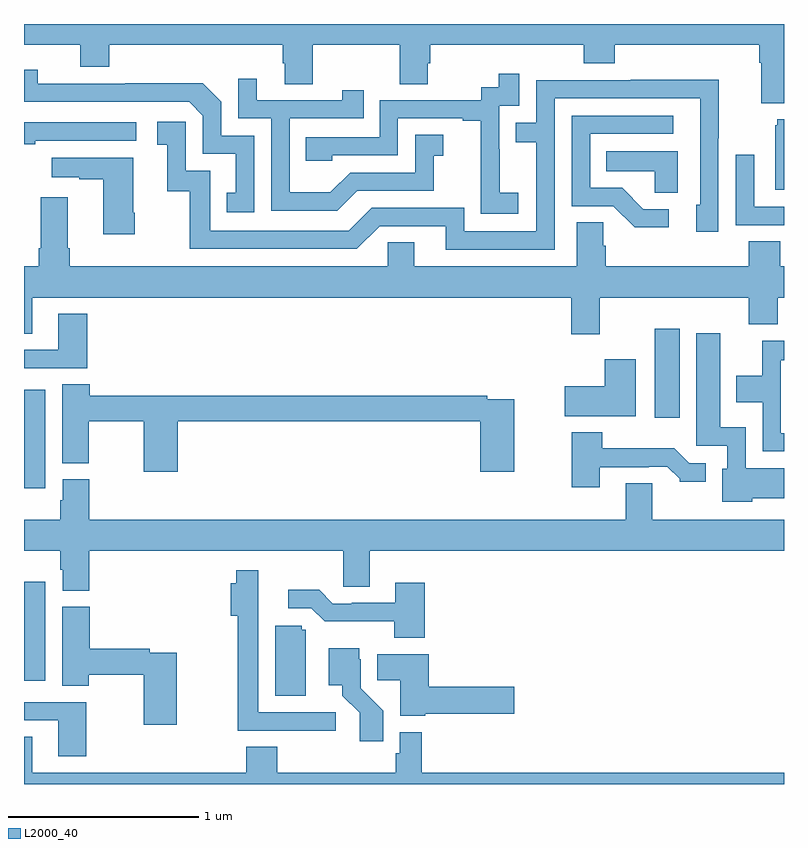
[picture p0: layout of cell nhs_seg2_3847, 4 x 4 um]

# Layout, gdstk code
import gdstk
lib = gdstk.Library(unit=1e-6, precision=1e-09)
def R(c, l, rs):  # rectangles x0, y0, x1, y1
    for r in rs: c.add(gdstk.rectangle(r[:2], r[2:], *l))
def P(c, l, *ps):  # polygons
    for p in ps: c.add(gdstk.Polygon(p, *l))
L2000_40 = (2000, 40)

nhs_seg2_3847 = lib.new_cell('nhs_seg2_3847')
R(nhs_seg2_3847, L2000_40, [(315,588.344,315.112,588.865), (315,589.356,315.112,589.876), (318.32,589.728,318.451,590.197)])
P(nhs_seg2_3847, L2000_40, [(319,591.8),(315,591.8),(315,591.692),(315.296,591.692),(315.296,591.575),(315.449,591.575),(315.449,591.692),(316.361,591.692),(316.361,591.594),(316.373,591.594),(316.373,591.484),(316.521,591.484),(316.521,591.692),(316.978,591.692),(316.978,591.484),(317.125,591.484),(317.125,591.594),(317.138,591.594),(317.138,591.692),(317.945,591.692),(317.945,591.593),(318.11,591.593),(318.11,591.692),(318.869,591.692),(318.869,591.596),(318.881,591.596),(318.881,591.383),(319,591.383)],
  [(316.212,591.213),(316.038,591.213),(316.038,591.39),(315.94,591.488),(315.532,591.488),(315.532,591.486),(315.072,591.486),(315.072,591.559),(315,591.559),(315,591.39),(315.87,591.39),(315.942,591.318),(315.942,591.117),(316.115,591.117),(316.115,590.913),(316.066,590.913),(316.066,590.808),(316.212,590.808)],
  [(317.602,590.911),(317.504,590.911),(317.504,591.14),(317.502,591.14),(317.502,591.369),(317.607,591.369),(317.607,591.538),(317.499,591.538),(317.499,591.468),(317.406,591.468),(317.406,591.399),(316.872,591.399),(316.872,591.204),(316.483,591.204),(316.483,591.081),(316.623,591.081),(316.623,591.108),(316.968,591.108),(316.968,591.303),(317.309,591.303),(317.309,591.291),(317.405,591.291),(317.405,591.007),(317.404,591.007),(317.404,590.801),(317.602,590.801)],
  [(316.753,590.922),(317.157,590.922),(317.157,591.107),(317.206,591.107),(317.206,591.217),(317.058,591.217),(317.058,591.018),(316.716,591.018),(316.612,590.914),(316.398,590.914),(316.398,591.303),(316.787,591.303),(316.787,591.451),(316.676,591.451),(316.676,591.399),(316.225,591.399),(316.225,591.511),(316.128,591.511),(316.128,591.303),(316.302,591.303),(316.302,590.817),(316.648,590.817)],
  [(317.793,591.408),(318.558,591.408),(318.558,590.85),(318.539,590.85),(318.539,590.706),(318.654,590.706),(318.654,591.199),(318.657,591.199),(318.657,591.506),(318.193,591.506),(318.193,591.504),(317.697,591.504),(317.697,591.279),(317.587,591.279),(317.587,591.178),(317.697,591.178),(317.697,590.709),(317.316,590.709),(317.316,590.832),(316.83,590.832),(316.71,590.712),(315.981,590.712),(315.981,591.027),(315.852,591.027),(315.852,591.286),(315.702,591.286),(315.702,591.165),(315.755,591.165),(315.755,590.919),(315.873,590.919),(315.873,590.616),(316.752,590.616),(316.872,590.736),(317.219,590.736),(317.219,590.613),(317.793,590.613)],
  [(318.394,590.826),(318.259,590.826),(318.148,590.937),(317.979,590.937),(317.979,591.222),(318.418,591.222),(318.418,591.318),(317.883,591.318),(317.883,590.841),(318.102,590.841),(318.215,590.729),(318.394,590.729)],
  [(319,591.298),(318.965,591.298),(318.965,591.267),(318.953,591.267),(318.953,590.927),(319,590.927)],
  [(315.059,591.186),(315.592,591.186),(315.592,591.282),(315,591.282),(315,591.166),(315.059,591.166)],
  [(318.442,591.13),(318.064,591.13),(318.064,591.026),(318.321,591.026),(318.321,590.911),(318.442,590.911)],
  [(319,590.838),(318.843,590.838),(318.843,591.112),(318.747,591.112),(318.747,590.742),(319,590.742)],
  [(315.582,590.806),(315.574,590.806),(315.574,591.097),(315.147,591.097),(315.147,590.993),(315.29,590.993),(315.29,590.983),(315.416,590.983),(315.416,590.694),(315.582,590.694)],
  [(318.031,590.36),(318.815,590.36),(318.815,590.219),(318.967,590.219),(318.967,590.36),(319,590.36),(319,590.524),(318.98,590.524),(318.98,590.657),(318.815,590.657),(318.815,590.524),(318.062,590.524),(318.062,590.633),(318.048,590.633),(318.048,590.756),(317.909,590.756),(317.909,590.524),(317.053,590.524),(317.053,590.651),(316.914,590.651),(316.914,590.524),(315.242,590.524),(315.242,590.62),(315.229,590.62),(315.229,590.887),(315.089,590.887),(315.089,590.62),(315.077,590.62),(315.077,590.524),(315,590.524),(315,590.17),(315.043,590.17),(315.043,590.36),(317.879,590.36),(317.879,590.166),(318.031,590.166)],
  [(315.332,590.275),(315.179,590.275),(315.179,590.085),(315,590.085),(315,589.989),(315.332,589.989)],
  [(318.834,589.304),(319,589.304),(319,589.462),(318.798,589.462),(318.798,589.678),(318.664,589.678),(318.664,590.173),(318.539,590.173),(318.539,589.581),(318.702,589.581),(318.702,589.458),(318.674,589.458),(318.674,589.286),(318.834,589.286)],
  [(319,589.647),(318.984,589.647),(318.984,590.03),(319,590.03),(319,590.134),(318.886,590.134),(318.886,589.948),(318.749,589.948),(318.749,589.808),(318.888,589.808),(318.888,589.551),(319,589.551)],
  [(318.22,590.035),(318.056,590.035),(318.056,589.894),(317.847,589.894),(317.847,589.736),(318.22,589.736)],
  [(315.809,589.708),(317.402,589.708),(317.402,589.443),(317.58,589.443),(317.58,589.824),(317.438,589.824),(317.438,589.844),(315.347,589.844),(315.347,589.904),(315.2,589.904),(315.2,589.489),(315.342,589.489),(315.342,589.708),(315.631,589.708),(315.631,589.443),(315.809,589.443)],
  [(318.031,589.467),(318.287,589.467),(318.287,589.47),(318.386,589.47),(318.45,589.406),(318.45,589.391),(318.589,589.391),(318.589,589.488),(318.501,589.488),(318.423,589.567),(318.044,589.567),(318.044,589.651),(317.884,589.651),(317.884,589.362),(318.031,589.362)],
  [(315.344,589.028),(316.68,589.028),(316.68,588.838),(316.819,588.838),(316.819,589.028),(319,589.028),(319,589.192),(318.307,589.192),(318.307,589.382),(318.167,589.382),(318.167,589.192),(315.344,589.192),(315.344,589.404),(315.203,589.404),(315.203,589.293),(315.191,589.293),(315.191,589.192),(315,589.192),(315,589.028),(315.191,589.028),(315.191,588.927),(315.203,588.927),(315.203,588.817),(315.344,588.817)],
  [(316.642,588.177),(316.233,588.177),(316.233,588.702),(316.234,588.702),(316.234,588.925),(316.117,588.925),(316.117,588.856),(316.088,588.856),(316.088,588.686),(316.125,588.686),(316.125,588.081),(316.417,588.081),(316.417,588.079),(316.642,588.079)],
  [(317.108,588.859),(316.955,588.859),(316.955,588.753),(316.726,588.753),(316.726,588.75),(316.626,588.75),(316.553,588.823),(316.392,588.823),(316.392,588.726),(316.512,588.726),(316.583,588.656),(316.948,588.656),(316.948,588.569),(317.108,588.569)],
  [(315.804,588.492),(315.662,588.492),(315.662,588.512),(315.347,588.512),(315.347,588.732),(315.2,588.732),(315.2,588.316),(315.342,588.316),(315.342,588.376),(315.631,588.376),(315.631,588.111),(315.804,588.111)],
  [(316.483,588.612),(316.461,588.612),(316.461,588.633),(316.322,588.633),(316.322,588.264),(316.483,588.264)],
  [(316.892,588.186),(316.773,588.305),(316.773,588.456),(316.765,588.456),(316.765,588.514),(316.604,588.514),(316.604,588.32),(316.676,588.32),(316.676,588.265),(316.767,588.175),(316.767,588.024),(316.892,588.024)],
  [(317.112,588.169),(317.581,588.169),(317.581,588.311),(317.129,588.311),(317.129,588.484),(316.858,588.484),(316.858,588.346),(316.979,588.346),(316.979,588.158),(317.112,588.158)],
  [(315.327,588.231),(315,588.231),(315,588.135),(315.179,588.135),(315.179,587.946),(315.327,587.946)],
  [(319,587.86),(317.093,587.86),(317.093,588.073),(316.977,588.073),(316.977,587.961),(316.957,587.961),(316.957,587.86),(316.334,587.86),(316.334,587.996),(316.169,587.996),(316.169,587.86),(315.043,587.86),(315.043,588.05),(315,588.05),(315,587.8),(319,587.8)])

lib.write_gds('nhs_seg2_3847.gds')
